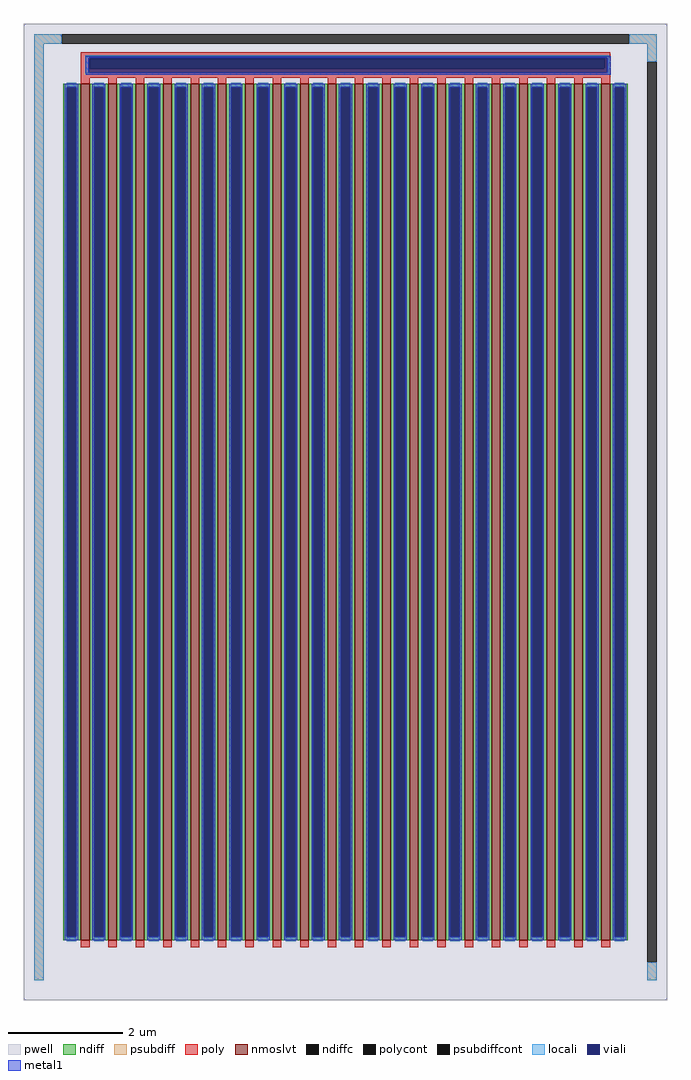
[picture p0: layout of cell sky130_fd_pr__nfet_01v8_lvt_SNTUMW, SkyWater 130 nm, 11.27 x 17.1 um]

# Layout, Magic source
magic
tech sky130A
magscale 1 2
<< pwell >>
rect -1127 -1710 1127 1710
<< nmoslvt >>
rect -927 -1500 -897 1500
rect -831 -1500 -801 1500
rect -735 -1500 -705 1500
rect -639 -1500 -609 1500
rect -543 -1500 -513 1500
rect -447 -1500 -417 1500
rect -351 -1500 -321 1500
rect -255 -1500 -225 1500
rect -159 -1500 -129 1500
rect -63 -1500 -33 1500
rect 33 -1500 63 1500
rect 129 -1500 159 1500
rect 225 -1500 255 1500
rect 321 -1500 351 1500
rect 417 -1500 447 1500
rect 513 -1500 543 1500
rect 609 -1500 639 1500
rect 705 -1500 735 1500
rect 801 -1500 831 1500
rect 897 -1500 927 1500
<< ndiff >>
rect -989 1488 -927 1500
rect -989 -1488 -977 1488
rect -943 -1488 -927 1488
rect -989 -1500 -927 -1488
rect -897 1488 -831 1500
rect -897 -1488 -881 1488
rect -847 -1488 -831 1488
rect -897 -1500 -831 -1488
rect -801 1488 -735 1500
rect -801 -1488 -785 1488
rect -751 -1488 -735 1488
rect -801 -1500 -735 -1488
rect -705 1488 -639 1500
rect -705 -1488 -689 1488
rect -655 -1488 -639 1488
rect -705 -1500 -639 -1488
rect -609 1488 -543 1500
rect -609 -1488 -593 1488
rect -559 -1488 -543 1488
rect -609 -1500 -543 -1488
rect -513 1488 -447 1500
rect -513 -1488 -497 1488
rect -463 -1488 -447 1488
rect -513 -1500 -447 -1488
rect -417 1488 -351 1500
rect -417 -1488 -401 1488
rect -367 -1488 -351 1488
rect -417 -1500 -351 -1488
rect -321 1488 -255 1500
rect -321 -1488 -305 1488
rect -271 -1488 -255 1488
rect -321 -1500 -255 -1488
rect -225 1488 -159 1500
rect -225 -1488 -209 1488
rect -175 -1488 -159 1488
rect -225 -1500 -159 -1488
rect -129 1488 -63 1500
rect -129 -1488 -113 1488
rect -79 -1488 -63 1488
rect -129 -1500 -63 -1488
rect -33 1488 33 1500
rect -33 -1488 -17 1488
rect 17 -1488 33 1488
rect -33 -1500 33 -1488
rect 63 1488 129 1500
rect 63 -1488 79 1488
rect 113 -1488 129 1488
rect 63 -1500 129 -1488
rect 159 1488 225 1500
rect 159 -1488 175 1488
rect 209 -1488 225 1488
rect 159 -1500 225 -1488
rect 255 1488 321 1500
rect 255 -1488 271 1488
rect 305 -1488 321 1488
rect 255 -1500 321 -1488
rect 351 1488 417 1500
rect 351 -1488 367 1488
rect 401 -1488 417 1488
rect 351 -1500 417 -1488
rect 447 1488 513 1500
rect 447 -1488 463 1488
rect 497 -1488 513 1488
rect 447 -1500 513 -1488
rect 543 1488 609 1500
rect 543 -1488 559 1488
rect 593 -1488 609 1488
rect 543 -1500 609 -1488
rect 639 1488 705 1500
rect 639 -1488 655 1488
rect 689 -1488 705 1488
rect 639 -1500 705 -1488
rect 735 1488 801 1500
rect 735 -1488 751 1488
rect 785 -1488 801 1488
rect 735 -1500 801 -1488
rect 831 1488 897 1500
rect 831 -1488 847 1488
rect 881 -1488 897 1488
rect 831 -1500 897 -1488
rect 927 1488 989 1500
rect 927 -1488 943 1488
rect 977 -1488 989 1488
rect 927 -1500 989 -1488
<< ndiffc >>
rect -977 -1488 -943 1488
rect -881 -1488 -847 1488
rect -785 -1488 -751 1488
rect -689 -1488 -655 1488
rect -593 -1488 -559 1488
rect -497 -1488 -463 1488
rect -401 -1488 -367 1488
rect -305 -1488 -271 1488
rect -209 -1488 -175 1488
rect -113 -1488 -79 1488
rect -17 -1488 17 1488
rect 79 -1488 113 1488
rect 175 -1488 209 1488
rect 271 -1488 305 1488
rect 367 -1488 401 1488
rect 463 -1488 497 1488
rect 559 -1488 593 1488
rect 655 -1488 689 1488
rect 751 -1488 785 1488
rect 847 -1488 881 1488
rect 943 -1488 977 1488
<< psubdiff >>
rect -1091 1640 -995 1674
rect 995 1640 1091 1674
rect -1091 -1640 -1057 1640
rect 1057 1578 1091 1640
rect 1057 -1640 1091 -1578
<< psubdiffcont >>
rect -995 1640 995 1674
rect 1057 -1578 1091 1578
<< poly >>
rect -927 1588 927 1611
rect -927 1554 -896 1588
rect 908 1554 927 1588
rect -927 1522 927 1554
rect -927 1500 -897 1522
rect -831 1500 -801 1522
rect -735 1500 -705 1522
rect -639 1500 -609 1522
rect -543 1500 -513 1522
rect -447 1500 -417 1522
rect -351 1500 -321 1522
rect -255 1500 -225 1522
rect -159 1500 -129 1522
rect -63 1500 -33 1522
rect 33 1500 63 1522
rect 129 1500 159 1522
rect 225 1500 255 1522
rect 321 1500 351 1522
rect 417 1500 447 1522
rect 513 1500 543 1522
rect 609 1500 639 1522
rect 705 1500 735 1522
rect 801 1500 831 1522
rect 897 1500 927 1522
rect -927 -1526 -897 -1500
rect -831 -1526 -801 -1500
rect -735 -1526 -705 -1500
rect -639 -1526 -609 -1500
rect -543 -1526 -513 -1500
rect -447 -1526 -417 -1500
rect -351 -1526 -321 -1500
rect -255 -1526 -225 -1500
rect -159 -1526 -129 -1500
rect -63 -1526 -33 -1500
rect 33 -1526 63 -1500
rect 129 -1526 159 -1500
rect 225 -1526 255 -1500
rect 321 -1526 351 -1500
rect 417 -1526 447 -1500
rect 513 -1526 543 -1500
rect 609 -1526 639 -1500
rect 705 -1526 735 -1500
rect 801 -1526 831 -1500
rect 897 -1526 927 -1500
<< polycont >>
rect -896 1554 908 1588
<< locali >>
rect -1091 1640 -995 1674
rect 995 1640 1091 1674
rect -1091 -1640 -1057 1640
rect -912 1591 924 1600
rect -912 1539 -899 1591
rect 917 1539 924 1591
rect -912 1538 924 1539
rect 1057 1578 1091 1640
rect -977 1488 -943 1504
rect -977 -1504 -943 -1488
rect -881 1488 -847 1504
rect -881 -1504 -847 -1488
rect -785 1488 -751 1504
rect -785 -1504 -751 -1488
rect -689 1488 -655 1504
rect -689 -1504 -655 -1488
rect -593 1488 -559 1504
rect -593 -1504 -559 -1488
rect -497 1488 -463 1504
rect -497 -1504 -463 -1488
rect -401 1488 -367 1504
rect -401 -1504 -367 -1488
rect -305 1488 -271 1504
rect -305 -1504 -271 -1488
rect -209 1488 -175 1504
rect -209 -1504 -175 -1488
rect -113 1488 -79 1504
rect -113 -1504 -79 -1488
rect -17 1488 17 1504
rect -17 -1504 17 -1488
rect 79 1488 113 1504
rect 79 -1504 113 -1488
rect 175 1488 209 1504
rect 175 -1504 209 -1488
rect 271 1488 305 1504
rect 271 -1504 305 -1488
rect 367 1488 401 1504
rect 367 -1504 401 -1488
rect 463 1488 497 1504
rect 463 -1504 497 -1488
rect 559 1488 593 1504
rect 559 -1504 593 -1488
rect 655 1488 689 1504
rect 655 -1504 689 -1488
rect 751 1488 785 1504
rect 751 -1504 785 -1488
rect 847 1488 881 1504
rect 847 -1504 881 -1488
rect 943 1488 977 1504
rect 943 -1504 977 -1488
rect 1057 -1640 1091 -1578
<< viali >>
rect -899 1588 917 1591
rect -899 1554 -896 1588
rect -896 1554 908 1588
rect 908 1554 917 1588
rect -899 1539 917 1554
rect -977 -1488 -943 1488
rect -881 -1488 -847 1488
rect -785 -1488 -751 1488
rect -689 -1488 -655 1488
rect -593 -1488 -559 1488
rect -497 -1488 -463 1488
rect -401 -1488 -367 1488
rect -305 -1488 -271 1488
rect -209 -1488 -175 1488
rect -113 -1488 -79 1488
rect -17 -1488 17 1488
rect 79 -1488 113 1488
rect 175 -1488 209 1488
rect 271 -1488 305 1488
rect 367 -1488 401 1488
rect 463 -1488 497 1488
rect 559 -1488 593 1488
rect 655 -1488 689 1488
rect 751 -1488 785 1488
rect 847 -1488 881 1488
rect 943 -1488 977 1488
<< metal1 >>
rect -911 1591 929 1597
rect -911 1539 -899 1591
rect 917 1539 929 1591
rect -911 1533 929 1539
rect -983 1488 -937 1500
rect -983 -1488 -977 1488
rect -943 -1488 -937 1488
rect -983 -1500 -937 -1488
rect -887 1488 -841 1500
rect -887 -1488 -881 1488
rect -847 -1488 -841 1488
rect -887 -1500 -841 -1488
rect -791 1488 -745 1500
rect -791 -1488 -785 1488
rect -751 -1488 -745 1488
rect -791 -1500 -745 -1488
rect -695 1488 -649 1500
rect -695 -1488 -689 1488
rect -655 -1488 -649 1488
rect -695 -1500 -649 -1488
rect -599 1488 -553 1500
rect -599 -1488 -593 1488
rect -559 -1488 -553 1488
rect -599 -1500 -553 -1488
rect -503 1488 -457 1500
rect -503 -1488 -497 1488
rect -463 -1488 -457 1488
rect -503 -1500 -457 -1488
rect -407 1488 -361 1500
rect -407 -1488 -401 1488
rect -367 -1488 -361 1488
rect -407 -1500 -361 -1488
rect -311 1488 -265 1500
rect -311 -1488 -305 1488
rect -271 -1488 -265 1488
rect -311 -1500 -265 -1488
rect -215 1488 -169 1500
rect -215 -1488 -209 1488
rect -175 -1488 -169 1488
rect -215 -1500 -169 -1488
rect -119 1488 -73 1500
rect -119 -1488 -113 1488
rect -79 -1488 -73 1488
rect -119 -1500 -73 -1488
rect -23 1488 23 1500
rect -23 -1488 -17 1488
rect 17 -1488 23 1488
rect -23 -1500 23 -1488
rect 73 1488 119 1500
rect 73 -1488 79 1488
rect 113 -1488 119 1488
rect 73 -1500 119 -1488
rect 169 1488 215 1500
rect 169 -1488 175 1488
rect 209 -1488 215 1488
rect 169 -1500 215 -1488
rect 265 1488 311 1500
rect 265 -1488 271 1488
rect 305 -1488 311 1488
rect 265 -1500 311 -1488
rect 361 1488 407 1500
rect 361 -1488 367 1488
rect 401 -1488 407 1488
rect 361 -1500 407 -1488
rect 457 1488 503 1500
rect 457 -1488 463 1488
rect 497 -1488 503 1488
rect 457 -1500 503 -1488
rect 553 1488 599 1500
rect 553 -1488 559 1488
rect 593 -1488 599 1488
rect 553 -1500 599 -1488
rect 649 1488 695 1500
rect 649 -1488 655 1488
rect 689 -1488 695 1488
rect 649 -1500 695 -1488
rect 745 1488 791 1500
rect 745 -1488 751 1488
rect 785 -1488 791 1488
rect 745 -1500 791 -1488
rect 841 1488 887 1500
rect 841 -1488 847 1488
rect 881 -1488 887 1488
rect 841 -1500 887 -1488
rect 937 1488 983 1500
rect 937 -1488 943 1488
rect 977 -1488 983 1488
rect 937 -1500 983 -1488
<< properties >>
string gencell sky130_fd_pr__nfet_01v8_lvt
string FIXED_BBOX -1074 -1657 1074 1657
string parameters w 15 l 0.150 m 1 nf 20 diffcov 100 polycov 100 guard 1 glc 0 grc 1 gtc 1 gbc 0 tbcov 100 rlcov 100 topc 0 botc 0 poverlap 1 doverlap 1 lmin 0.15 wmin 0.42 compatible {sky130_fd_pr__nfet_01v8 sky130_fd_pr__nfet_01v8_lvt  sky130_fd_bs_flash__special_sonosfet_star  sky130_fd_pr__nfet_g5v0d10v5 sky130_fd_pr__nfet_05v0_nvt  sky130_fd_pr__nfet_03v3_nvt} full_metal 1 viasrc 100 viadrn 100 viagate 100 viagb 0 viagr 0 viagl 0 viagt 0
string library sky130
<< end >>
